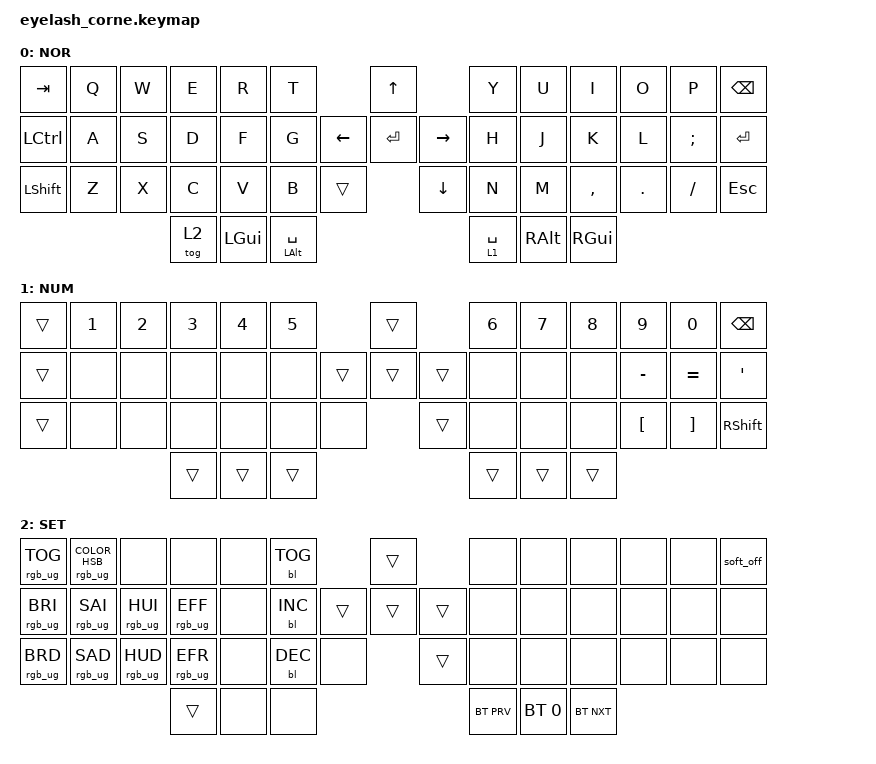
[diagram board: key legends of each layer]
#include <dt-bindings/zmk/mouse.h>
#include <behaviors.dtsi>
#include <dt-bindings/zmk/backlight.h>
#include <dt-bindings/zmk/bt.h>
#include <dt-bindings/zmk/keys.h>
#include <dt-bindings/zmk/rgb.h>

/ {
    behaviors {
        td0: td0 {
            compatible = "zmk,behavior-tap-dance";
            #binding-cells = <0>;
            bindings = <&kp LEFT_SHIFT>, <&kp CAPS>;
        };
    };

    rgb_encoder: rgb_encoder {
        compatible = "zmk,behavior-sensor-rotate";
        #sensor-binding-cells = <0>;
        bindings = <&rgb_ug RGB_BRI>, <&rgb_ug RGB_BRD>;
    };

    keymap {
        compatible = "zmk,keymap";

        Normal {
            display-name = "NOR";
            bindings = <
&kp TAB           &kp Q  &kp W  &kp E   &kp R         &kp T                                   &kp UP                &kp Y        &kp U          &kp I          &kp O    &kp P     &kp BSPC
&kp LEFT_CONTROL  &kp A  &kp S  &kp D   &kp F         &kp G                         &kp LEFT  &kp ENTER  &kp RIGHT  &kp H        &kp J          &kp K          &kp L    &kp SEMI  &kp ENTER
&kp LEFT_SHIFT    &kp Z  &kp X  &kp C   &kp V         &kp B               &trans              &kp DOWN              &kp N        &kp M          &kp COMMA      &kp DOT  &kp FSLH  &kp ESC
                                &tog 2  &kp LEFT_GUI  &mt LEFT_ALT SPACE                                            &lt 1 SPACE  &kp RIGHT_ALT  &kp RIGHT_GUI
            >;
        };

        Numbers {
            bindings = <
&trans  &kp N1  &kp N2  &kp N3  &kp N4  &kp N5                   &trans          &kp N6  &kp N7  &kp N8  &kp N9            &kp N0             &kp BACKSPACE
&trans  &none   &none   &none   &none   &none            &trans  &trans  &trans  &none   &none   &none   &kp MINUS         &kp EQUAL          &kp SINGLE_QUOTE
&trans  &none   &none   &none   &none   &none   &none            &trans          &none   &none   &none   &kp LEFT_BRACKET  &kp RIGHT_BRACKET  &kp RIGHT_SHIFT
                        &trans  &trans  &trans                                   &trans  &trans  &trans
            >;

            label = "NUM";
        };

        Options {
            display-name = "SET";
            bindings = <
&rgb_ug RGB_TOG  &rgb_ug RGB_COLOR_HSB(184,100,50)  &none            &none            &none  &bl BL_TOG                   &trans          &none       &none         &none       &none  &none  &soft_off
&rgb_ug RGB_BRI  &rgb_ug RGB_SAI                    &rgb_ug RGB_HUI  &rgb_ug RGB_EFF  &none  &bl BL_INC           &trans  &trans  &trans  &none       &none         &none       &none  &none  &none
&rgb_ug RGB_BRD  &rgb_ug RGB_SAD                    &rgb_ug RGB_HUD  &rgb_ug RGB_EFR  &none  &bl BL_DEC  &none            &trans          &none       &none         &none       &none  &none  &none
                                                                     &trans           &none  &none                                        &bt BT_PRV  &bt BT_SEL 0  &bt BT_NXT
            >;
        };
    };
};
